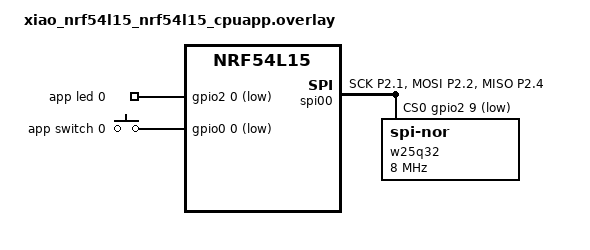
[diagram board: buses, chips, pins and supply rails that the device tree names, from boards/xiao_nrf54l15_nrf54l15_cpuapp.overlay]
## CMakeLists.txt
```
cmake_minimum_required(VERSION 3.20.0)
find_package(Zephyr REQUIRED HINTS $ENV{ZEPHYR_BASE})

project(spi_02)

target_sources(app PRIVATE src/main.c)

set(YMPRINT_DIR ${CMAKE_CURRENT_SOURCE_DIR}/ym_print)
target_include_directories(app PRIVATE ${YMPRINT_DIR})
file(GLOB_RECURSE YMPRINT_DIR_SOURCES "${YMPRINT_DIR}/*.c" "${YMPRINT_DIR}/*.cpp")
target_sources(app PRIVATE ${YMPRINT_DIR_SOURCES})

set(W25QXX_DIR ${CMAKE_CURRENT_SOURCE_DIR}/w25qxx)
target_include_directories(app PRIVATE ${W25QXX_DIR})
file(GLOB_RECURSE W25QXX_DIR_SOURCES "${W25QXX_DIR}/*.c" "${W25QXX_DIR}/*.cpp")
target_sources(app PRIVATE ${W25QXX_DIR_SOURCES})
```

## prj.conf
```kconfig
CONFIG_SPI=y
CONFIG_GPIO=y
CONFIG_PRINTK=y
CONFIG_CONSOLE=y
```

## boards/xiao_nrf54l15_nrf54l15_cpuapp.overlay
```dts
&spi00{
	compatible = "nordic,nrf-spim";
	status = "okay";
	pinctrl-0 = <&spi00_default>;
	pinctrl-1 = <&spi00_sleep>;
	pinctrl-names = "default", "sleep";
	cs-gpios = <&gpio2 9 GPIO_ACTIVE_LOW>;

	w25q32: w25q32@0 {
        compatible = "jedec,spi-nor";
		status = "okay";
        reg = <0>;
        spi-max-frequency = <8000000>;
    };
};

/ {
    gpiocustom {
        compatible = "gpio-keys";
        appled0: appled_0 {
            gpios = <&gpio2 0 GPIO_ACTIVE_LOW>;
            label = "app led 0";
        };

        appsw_0: appsw_0 {
            gpios = <&gpio0 0 (GPIO_PULL_UP | GPIO_ACTIVE_LOW)>;
            label = "app switch 0";
        };
    };

    aliases {
        appled0 = &appled0;
        appsw0 = &appsw_0;
		appflash = &w25q32;
    };
};

&pinctrl {

	spi00_default: spi00_default {
		group1 {
			psels = <NRF_PSEL(SPIM_SCK, 2, 1)>,
				<NRF_PSEL(SPIM_MOSI, 2, 2)>,
				<NRF_PSEL(SPIM_MISO, 2, 4)>;
		};
	};

	spi00_sleep: spi00_sleep {
		group1 {
			psels = <NRF_PSEL(SPIM_SCK, 2, 1)>,
				<NRF_PSEL(SPIM_MOSI, 2, 2)>,
				<NRF_PSEL(SPIM_MISO, 2, 4)>;
			low-power-enable;
		};
	};
};
```

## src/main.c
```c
#include <zephyr/kernel.h>
#include <zephyr/device.h>
#include <zephyr/drivers/spi.h>
#include <zephyr/drivers/gpio.h>
#include "w25qxx.h"

#define EFLASH_NODE DT_ALIAS(appflash)
#define SPI_OP (SPI_WORD_SET(8) | SPI_TRANSFER_MSB)

struct w25qxx_device w25q;

static struct spi_dt_spec eflash_dev = SPI_DT_SPEC_GET(EFLASH_NODE, SPI_OP, 0);

int main(void)
{
    w25q.cfg.dev = &eflash_dev;
    w25qxx_init(&w25q);

    while(true)
    {
        w25qxx_read_all_reg(&w25q);
        k_msleep(5000);
    }
	return 0;
}
```
